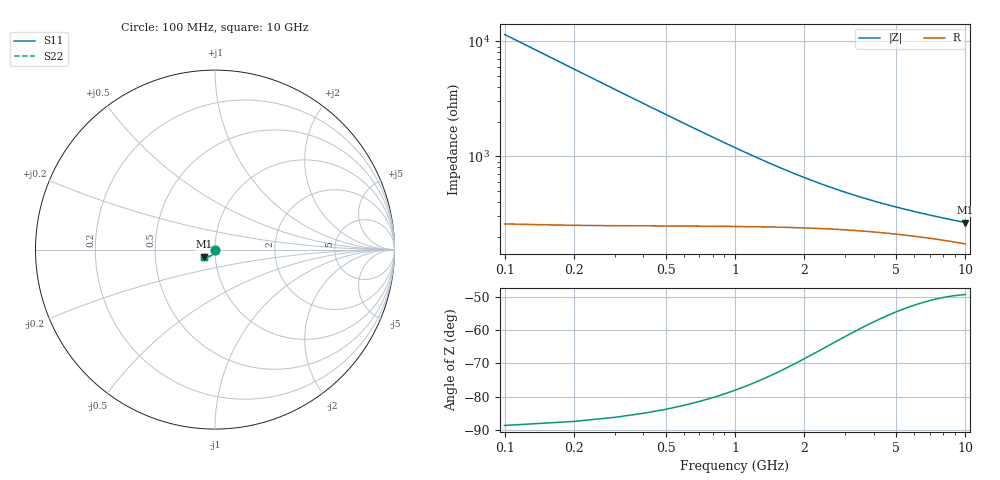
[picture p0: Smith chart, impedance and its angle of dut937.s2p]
! Touchstone file exported from HFSS 2024.1.0
!  File:  C:/UserFiles/LocalFiles/RDL_TSV_Batchsim/temp_TSV1_937_1779947677.aedt
!  Generated:  01:58:48 PM May 28, 2026
!  Design:  TSV1
!  Project:  temp_TSV1_937_1779947677
!  Setup:  Setup1
!  Solution:  Sweep
! Variables:
!  dtsv = 14.93um
!  hbump = 3um
!  htsv = 76.25um
!  lrdl = 252.1521522um
!  p = 40
!  p1 = 42.31um
!  t = 500um
!  trdl = 3um
!  wrdl = 24.89489489um
# GHz S MA R 50.000000
! Terminal data exported
! Port[1] = TSV22_T1
! Port[2] = TSV22_T2
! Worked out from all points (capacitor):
!   100 points, 100 MHz to 10 GHz, reference 50 ohm
!   read as one part in shunt: C = 139 fF near 100 MHz
!   lowest |Z| = 265 ohm at 10 GHz (marker M1)
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0.1  0.001892 -89.0  0.9999 -0.1  0.9999 -0.1  0.001892 -89.0
! Gamma 0 0 0 0
! Port Impedance 50 0 50 0
0.2  0.003777 -91.8  0.9997 -0.3  0.9997 -0.3  0.003777 -91.8
0.3  0.005655 -93.7  0.9995 -0.4  0.9995 -0.4  0.005655 -93.7
0.4  0.00752 -95.4  0.9991 -0.6  0.9991 -0.6  0.00752 -95.4
0.5  0.009368 -97.0  0.9987 -0.7  0.9987 -0.7  0.009368 -97.0
0.6  0.01119 -98.5  0.9981 -0.8  0.9981 -0.8  0.01119 -98.5
0.7  0.013 -100.0  0.9975 -1.0  0.9975 -1.0  0.013 -100.0
0.8  0.01477 -101.5  0.9969 -1.1  0.9969 -1.1  0.01477 -101.5
0.9  0.01651 -102.9  0.9961 -1.2  0.9961 -1.2  0.01651 -102.9
1.1  0.01988 -105.6  0.9944 -1.4  0.9944 -1.4  0.01988 -105.6
1.4  0.02463 -109.5  0.9916 -1.8  0.9916 -1.8  0.02463 -109.5
1.6  0.02758 -111.9  0.9896 -2.0  0.9896 -2.0  0.02758 -111.9
1.8  0.03035 -114.1  0.9875 -2.1  0.9875 -2.1  0.03035 -114.1
2.1  0.03418 -117.3  0.9843 -2.4  0.9843 -2.4  0.03418 -117.3
2.5  0.0387 -121.0  0.9802 -2.7  0.9802 -2.7  0.0387 -121.0
2.9  0.04263 -124.2  0.9763 -2.9  0.9763 -2.9  0.04263 -124.2
3.4  0.04685 -127.7  0.9718 -3.2  0.9718 -3.2  0.04685 -127.7
4.2  0.05235 -132.2  0.9654 -3.5  0.9654 -3.5  0.05235 -132.2
5.1  0.05723 -136.1  0.9594 -3.9  0.9594 -3.9  0.05723 -136.1
6.7  0.06376 -141.0  0.9511 -4.4  0.9511 -4.4  0.06376 -141.0
8.4  0.06884 -144.7  0.9447 -4.9  0.9447 -4.9  0.06884 -144.7
10  0.07246 -147.3  0.9402 -5.3  0.9402 -5.3  0.07246 -147.3
